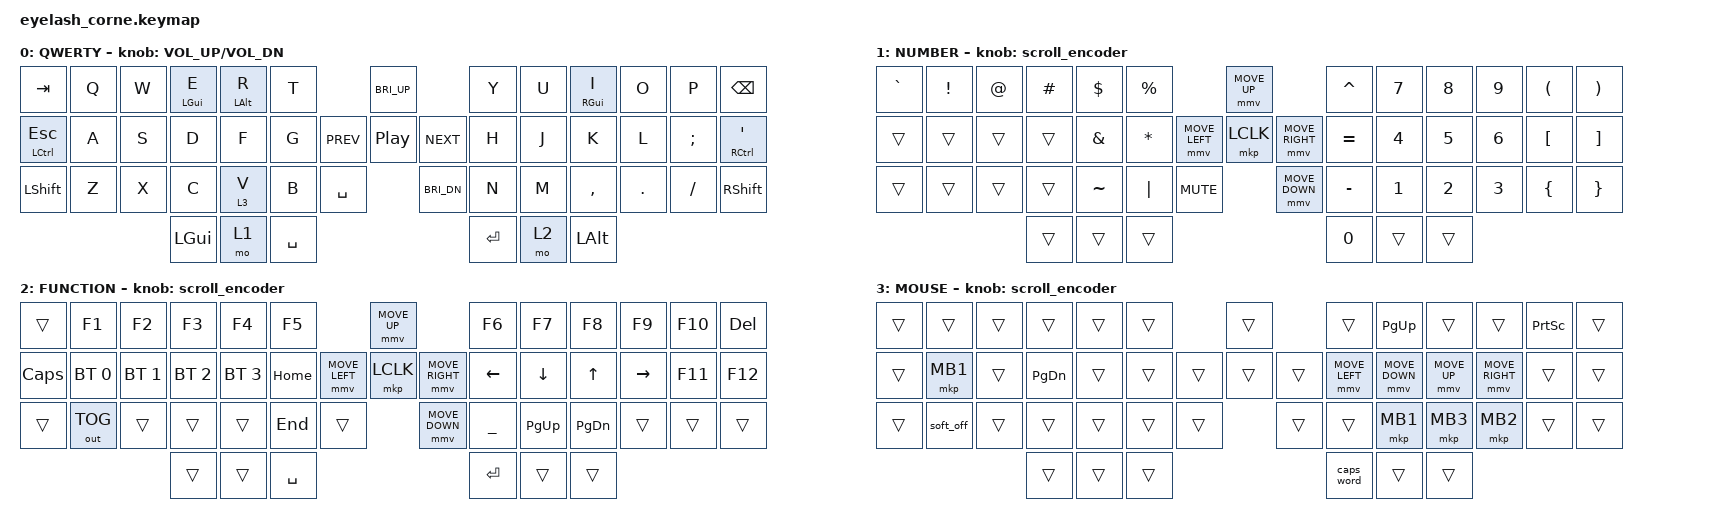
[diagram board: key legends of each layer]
#define ZMK_POINTING_DEFAULT_MOVE_VAL 800  // 600
#define ZMK_POINTING_DEFAULT_SCRL_VAL 25   // 10

#include <input/processors.dtsi>
#include <zephyr/dt-bindings/input/input-event-codes.h>
#include <behaviors.dtsi>
#include <dt-bindings/zmk/bt.h>
#include <dt-bindings/zmk/keys.h>
#include <dt-bindings/zmk/outputs.h>
#include <dt-bindings/zmk/pointing.h>
#include <dt-bindings/zmk/rgb.h>

&mmv_input_listener { input-processors = <&zip_xy_scaler 2 1>; };

&msc_input_listener { input-processors = <&zip_scroll_scaler 2 1>; };

&msc {
    acceleration-exponent = <1>;      // 0
    time-to-max-speed-ms = <100>;       // 300
    delay-ms = <0>;                   // 0
};

&caps_word {
  continue-list = <UNDERSCORE DELETE BACKSPACE>;
};

&mmv {
    time-to-max-speed-ms = <0>;
    acceleration-exponent = <0>;
    delay-ms = <0>;
    trigger-period-ms = <16>;
};

&mt {
    flavor = "tap-preferred";
    tapping-term-ms = <170>;
};

&soft_off { hold-time-ms = <2000>; };

/ {
    behaviors {
        td0: td0 {
            compatible = "zmk,behavior-tap-dance";
            display-name = "Esc/Ctrl/Caps Lock Tap Dance";
            #binding-cells = <0>;
            bindings = <&mt LCTRL ESC>, <&kp CAPS>;
        };
    };

    rgb_encoder: rgb_encoder {
        compatible = "zmk,behavior-sensor-rotate";
        #sensor-binding-cells = <0>;
        bindings = <&rgb_ug RGB_BRI>, <&rgb_ug RGB_BRD>;
    };

    scroll_encoder: scroll_encoder {
        compatible = "zmk,behavior-sensor-rotate";
        #sensor-binding-cells = <0>;
        bindings = <&msc SCRL_DOWN>, <&msc SCRL_UP>;
        tap-ms = <100>;
    };

    combos {
        compatible = "zmk,combos";

        softoff {
            bindings = <&soft_off>;
            key-positions = <1 15 29>;
        };
    };

    keymap {
        compatible = "zmk,keymap";

        default_layer {
            display-name = "QWERTY";
            bindings = <
&kp TAB         &kp Q  &kp W  &mt LGUI E   &mt LALT R  &kp T                                 &kp C_BRI_UP               &kp Y        &kp U  &mt RGUI I   &kp O    &kp P     &kp BSPC
&mt LCTRL ESC   &kp A  &kp S  &kp D        &kp F       &kp G                     &kp C_PREV  &kp C_PP      &kp C_NEXT   &kp H        &kp J  &kp K        &kp L    &kp SEMI  &mt RCTRL SQT
&kp LSHIFT      &kp Z  &kp X  &kp C        &lt 3 V     &kp B        &kp SPACE                &kp C_BRI_DN               &kp N        &kp M  &kp COMMA    &kp DOT  &kp FSLH  &kp RSHIFT
                              &kp LGUI     &mo 1       &kp SPACE                                                        &kp ENTER    &mo 2  &kp LALT
            >;

            sensor-bindings = <&inc_dec_kp C_VOLUME_UP C_VOL_DN>;
        };

        lower_layer {
            display-name = "NUMBER";
            bindings = <
&kp GRAVE  &kp EXCL         &kp AT          &kp HASH      &kp DLLR      &kp PRCNT                                      &mmv MOVE_UP                     &kp CARET    &kp N7    &kp N8  &kp N9    &kp LPAR    &kp RPAR
&trans     &trans           &trans          &trans        &kp AMPS      &kp STAR                       &mmv MOVE_LEFT  &mkp LCLK       &mmv MOVE_RIGHT  &kp EQUAL    &kp N4    &kp N5  &kp N6    &kp LBKT    &kp RBKT
&trans     &trans           &trans          &trans        &kp TILDE     &kp PIPE  &kp C_MUTE                           &mmv MOVE_DOWN                   &kp MINUS    &kp N1    &kp N2  &kp N3    &kp LBRC    &kp RBRC
                                            &trans        &trans        &trans                                                                          &kp N0       &trans    &trans
            >;

            sensor-bindings = <&scroll_encoder>;
        };

        raise_layer {
            display-name = "FUNCTION";
            bindings = <
&trans    &kp F1        &kp F2        &kp F3         &kp F4         &kp F5                               &mmv MOVE_UP                     &kp F6     &kp F7       &kp F8          &kp F9    &kp F10   &kp DELETE
&kp CAPS  &bt BT_SEL 0  &bt BT_SEL 1  &bt BT_SEL 2   &bt BT_SEL 3   &kp HOME             &mmv MOVE_LEFT  &mkp LCLK       &mmv MOVE_RIGHT  &kp LEFT   &kp DOWN     &kp UP          &kp RIGHT &kp F11   &kp F12
&trans    &out OUT_TOG  &trans        &trans         &trans         &kp END    &trans                    &mmv MOVE_DOWN                   &kp UNDER  &kp PAGE_UP  &kp PAGE_DOWN   &trans    &trans    &trans 
                                      &trans         &trans         &kp SPACE                                                             &kp RET    &trans       &trans
            >;

            sensor-bindings = <&scroll_encoder>;
        };

        layer_3 {
            display-name = "MOUSE";
            bindings = <
&trans  &trans    &trans  &trans         &trans  &trans                               &trans                          &trans          &kp PAGE_UP        &trans        &trans           &kp PSCRN  &trans
&trans  &mkp MB1  &trans  &kp PAGE_DOWN  &trans  &trans               &trans          &trans          &trans          &mmv MOVE_LEFT  &mmv MOVE_DOWN     &mmv MOVE_UP  &mmv MOVE_RIGHT  &trans     &trans
&trans  &soft_off &trans  &trans         &trans  &trans  &trans                       &trans                          &trans          &mkp MB1           &mkp MB3      &mkp MB2         &trans     &trans
                          &trans         &trans  &trans                                                               &caps_word      &trans             &trans
            >;

            sensor-bindings = <&scroll_encoder>;
        };
    };
};
